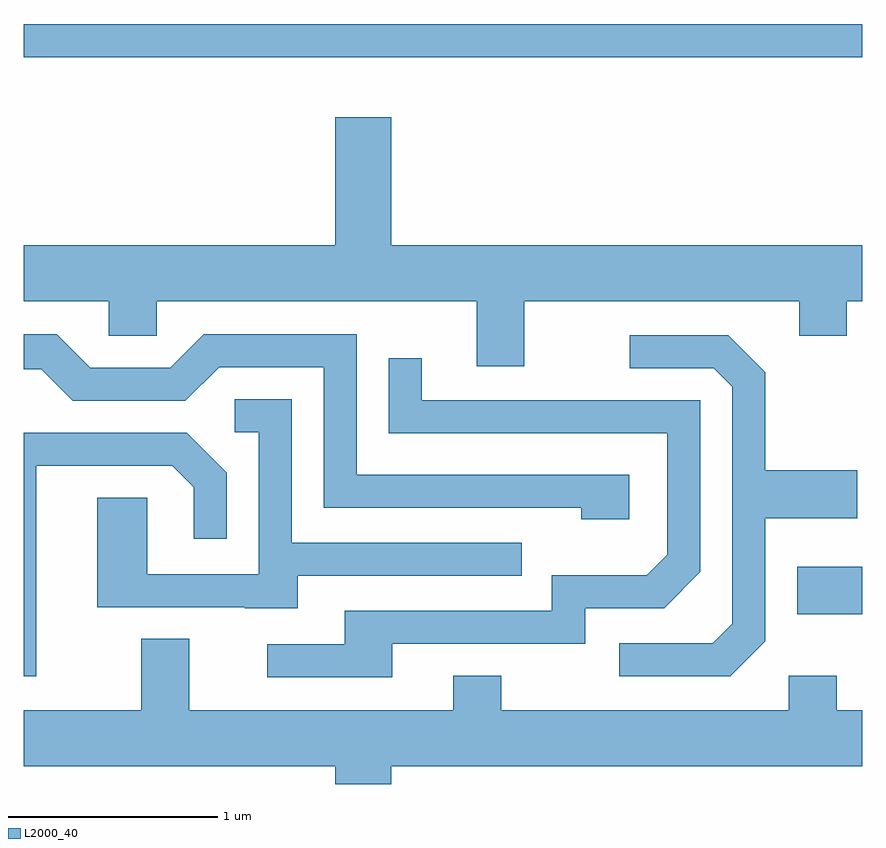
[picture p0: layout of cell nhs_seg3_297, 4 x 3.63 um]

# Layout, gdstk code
import gdstk
lib = gdstk.Library(unit=1e-6, precision=1e-09)
def R(c, l, rs):  # rectangles x0, y0, x1, y1
    for r in rs: c.add(gdstk.rectangle(r[:2], r[2:], *l))
def P(c, l, *ps):  # polygons
    for p in ps: c.add(gdstk.Polygon(p, *l))
L2000_40 = (2000, 40)

nhs_seg3_297 = lib.new_cell('nhs_seg3_297')
R(nhs_seg3_297, L2000_40, [(197.301,1166.701,197.611,1166.929), (193.611,1169.361,197.611,1169.519)])
P(nhs_seg3_297, L2000_40, [(195.999,1168.196),(197.311,1168.196),(197.311,1168.031),(197.539,1168.031),(197.539,1168.196),(197.611,1168.196),(197.611,1168.464),(195.364,1168.464),(195.364,1169.074),(195.096,1169.074),(195.096,1168.464),(193.611,1168.464),(193.611,1168.196),(194.016,1168.196),(194.016,1168.031),(194.244,1168.031),(194.244,1168.196),(195.771,1168.196),(195.771,1167.886),(195.999,1167.886)],
  [(196.499,1167.369),(195.199,1167.369),(195.199,1168.039),(194.469,1168.039),(194.309,1167.879),(193.927,1167.879),(193.767,1168.039),(193.611,1168.039),(193.611,1167.871),(193.694,1167.871),(193.844,1167.721),(194.382,1167.721),(194.542,1167.881),(195.041,1167.881),(195.041,1167.211),(196.271,1167.211),(196.271,1167.156),(196.499,1167.156)],
  [(197.149,1166.574),(197.149,1167.161),(197.589,1167.161),(197.589,1167.389),(197.149,1167.389),(197.149,1167.857),(196.972,1168.034),(196.503,1168.034),(196.503,1167.876),(196.904,1167.876),(196.991,1167.789),(196.991,1166.657),(196.899,1166.564),(196.453,1166.564),(196.453,1166.406),(196.982,1166.406)],
  [(195.369,1166.561),(196.289,1166.561),(196.289,1166.731),(196.667,1166.731),(196.839,1166.904),(196.839,1167.724),(195.509,1167.724),(195.509,1167.923),(195.351,1167.923),(195.351,1167.566),(196.681,1167.566),(196.681,1166.987),(196.584,1166.889),(196.131,1166.889),(196.131,1166.719),(195.141,1166.719),(195.141,1166.559),(194.773,1166.559),(194.773,1166.401),(195.369,1166.401)],
  [(194.919,1166.886),(195.988,1166.886),(195.988,1167.044),(194.889,1167.044),(194.889,1167.729),(194.618,1167.729),(194.618,1167.571),(194.731,1167.571),(194.731,1166.894),(194.199,1166.894),(194.199,1167.259),(193.961,1167.259),(193.961,1166.736),(194.665,1166.736),(194.665,1166.731),(194.919,1166.731)],
  [(193.669,1167.411),(194.319,1167.411),(194.421,1167.309),(194.421,1167.063),(194.579,1167.063),(194.579,1167.377),(194.387,1167.569),(193.611,1167.569),(193.611,1166.406),(193.669,1166.406)],
  [(195.364,1165.976),(197.611,1165.976),(197.611,1166.244),(197.489,1166.244),(197.489,1166.409),(197.261,1166.409),(197.261,1166.244),(195.889,1166.244),(195.889,1166.409),(195.661,1166.409),(195.661,1166.244),(194.399,1166.244),(194.399,1166.584),(194.171,1166.584),(194.171,1166.244),(193.611,1166.244),(193.611,1165.976),(195.096,1165.976),(195.096,1165.892),(195.364,1165.892)])

lib.write_gds('nhs_seg3_297.gds')
